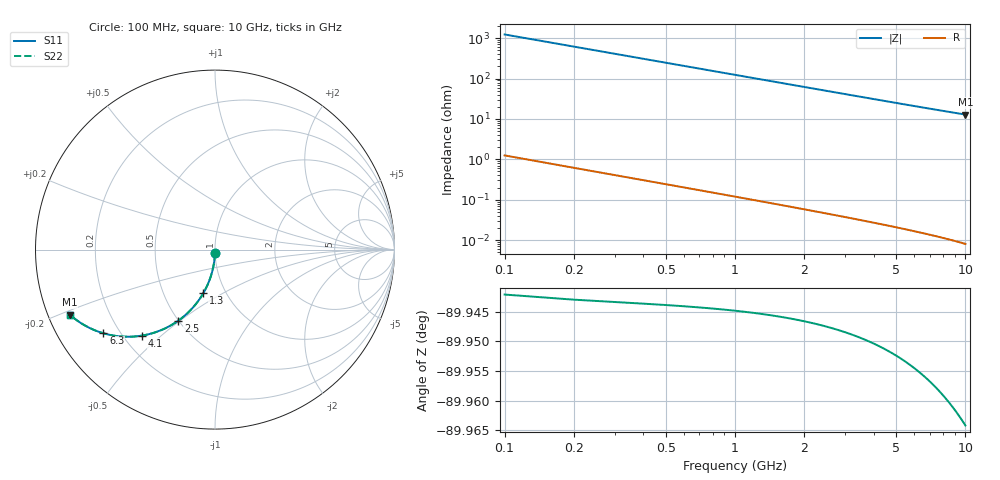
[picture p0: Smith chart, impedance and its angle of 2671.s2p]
# Hz S RI R 50.00
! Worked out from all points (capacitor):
!   100 points, 100 MHz to 10 GHz, reference 50 ohm
!   read as one part in shunt: C = 1.29 pF near 100 MHz
!   lowest |Z| = 12.9 ohm at 10 GHz (marker M1)
!   S11 on the Smith chart (normalised r, x): 100 MHz: 1.00, -0.04; 1.3 GHz: 0.79, -0.41; 2.5 GHz: 0.50, -0.49; 4.1 GHz: 0.27, -0.43; 6.3 GHz: 0.14, -0.33; 10 GHz: 0.06, -0.21
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1e8  -0.000229 -0.0199  0.9994 -0.0205  0.9994 -0.0205  -0.000229 -0.0199
2e8  -0.00147 -0.0397  0.9981 -0.0409  0.9981 -0.0409  -0.00147 -0.0397
3e8  -0.00351 -0.0595  0.9961 -0.0612  0.9961 -0.0612  -0.00351 -0.0595
4e8  -0.00636 -0.0791  0.9932 -0.0814  0.9932 -0.0814  -0.00636 -0.0791
5e8  -0.00999 -0.0985  0.9896 -0.1014  0.9896 -0.1014  -0.00999 -0.0985
6e8  -0.0144 -0.1177  0.9852 -0.1211  0.9852 -0.1211  -0.0144 -0.1177
8e8  -0.0254 -0.1551  0.9742 -0.1597  0.9742 -0.1597  -0.0254 -0.1551
1e9  -0.0392 -0.1911  0.9604 -0.1968  0.9604 -0.1968  -0.0392 -0.1911
1.3e9  -0.0645 -0.2418  0.935 -0.2493  0.935 -0.2493  -0.0645 -0.2418
1.5e9  -0.0841 -0.2731  0.9154 -0.2817  0.9154 -0.2817  -0.0841 -0.2731
1.8e9  -0.1169 -0.3159  0.8827 -0.3262  0.8827 -0.3262  -0.1169 -0.3159
2.1e9  -0.1527 -0.3534  0.8468 -0.3654  0.8468 -0.3654  -0.1527 -0.3534
2.5e9  -0.2035 -0.3952  0.796 -0.4094  0.796 -0.4094  -0.2035 -0.3952
2.9e9  -0.256 -0.4278  0.7434 -0.4443  0.7434 -0.4443  -0.256 -0.4278
3.4e9  -0.3213 -0.4569  0.6781 -0.4763  0.6781 -0.4763  -0.3213 -0.4569
4.1e9  -0.4082 -0.4793  0.5911 -0.5028  0.5911 -0.5028  -0.4082 -0.4793
5.1e9  -0.517 -0.4845  0.4821 -0.5138  0.4821 -0.5138  -0.517 -0.4845
6.3e9  -0.6213 -0.4662  0.3776 -0.5025  0.3776 -0.5025  -0.6213 -0.4662
6.7e9  -0.6502 -0.4568  0.3486 -0.4955  0.3486 -0.4955  -0.6502 -0.4568
7.5e9  -0.7004 -0.4355  0.2982 -0.4789  0.2982 -0.4789  -0.7004 -0.4355
8.4e9  -0.7466 -0.4096  0.2518 -0.4583  0.2518 -0.4583  -0.7466 -0.4096
1e10  -0.8081 -0.3631  0.1897 -0.4216  0.1897 -0.4216  -0.8081 -0.3631
